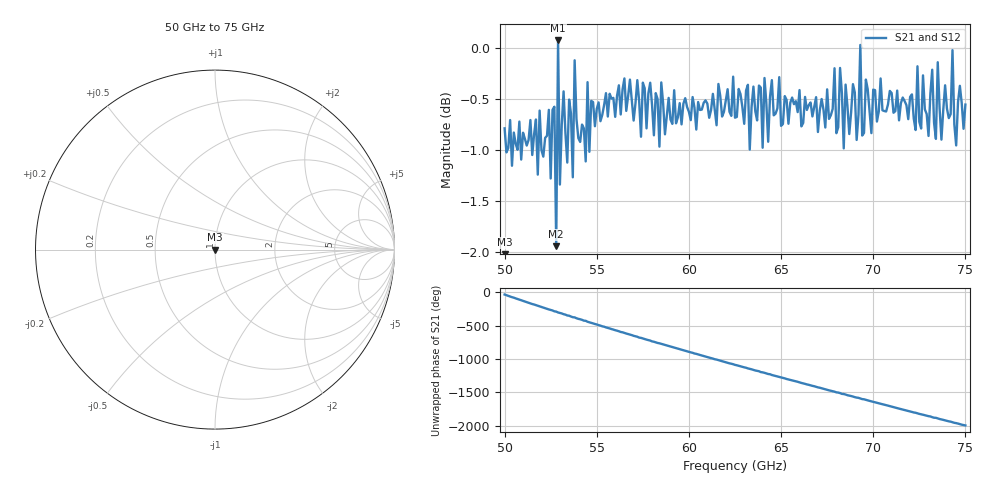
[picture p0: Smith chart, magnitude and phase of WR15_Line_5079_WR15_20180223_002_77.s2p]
# GHZ S RI R 50
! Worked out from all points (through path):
!   251 points, 50 GHz to 75 GHz, reference 50 ohm
!   highest |S21| = 0.08 dB at 52.9 GHz (marker M1); lowest = -1.9 dB at 52.8 GHz (marker M2)
!   lowest |S11| = - dB at 50 GHz (marker M3), VSWR 1.00, Z = 50 + j8.58e-17 ohm
!   |S11| at or under -10 dB: start of sweep to end of sweep
!   |S22| runs from - to - dB; largest |S21 - S12| = 1.4e-15
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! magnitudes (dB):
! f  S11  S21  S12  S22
! 50 GHz  -  -0.8  -0.8  -
! 51.8 GHz  -  -1.2  -1.2  -
! 52.4 GHz  -  -0.6  -0.6  -
! 52.5 GHz  -  -1.3  -1.3  -
! 52.7 GHz  -  -0.6  -0.6  -
! 52.8 GHz  -  -1.9  -1.9  -
! 52.9 GHz  -  0.1  0.1  -
! 53 GHz  -  -1.3  -1.3  -
! 53.2 GHz  -  -0.4  -0.4  -
! 53.7 GHz  -  -1.3  -1.3  -
! 53.8 GHz  -  -0.1  -0.1  -
! 54.2 GHz  -  -0.7  -0.7  -
! 57.9 GHz  -  -0.3  -0.3  -
! 58.4 GHz  -  -1.0  -1.0  -
! 58.5 GHz  -  -0.3  -0.3  -
! 62.5 GHz  -  -0.7  -0.7  -
! 66.7 GHz  -  -0.7  -0.7  -
! 69.1 GHz  -  -0.9  -0.9  -
! 69.3 GHz  -  0.0  0.0  -
! 69.4 GHz  -  -0.9  -0.9  -
! 70.9 GHz  -  -0.4  -0.4  -
! 75 GHz  -  -0.6  -0.6  -
